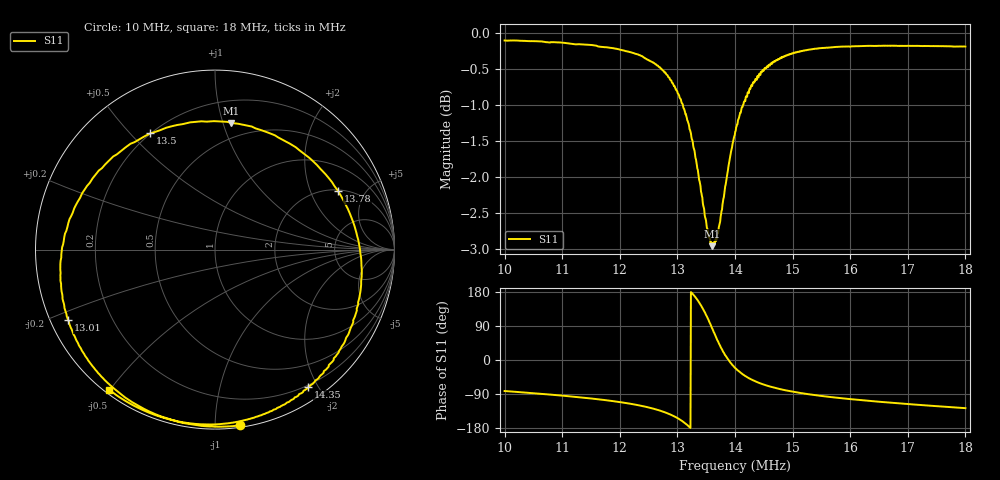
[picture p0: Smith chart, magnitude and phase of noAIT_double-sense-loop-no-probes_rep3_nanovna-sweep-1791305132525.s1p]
! NanoVNA Web complex sweep
! Processing: unaveraged complex samples; linear segment spacing; no smoothing
# Hz S RI R 50
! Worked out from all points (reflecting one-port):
!   1010 points, 10 MHz to 18 MHz, reference 50 ohm
!   lowest |S11| = -3.0 dB at 13.61 MHz (marker M1), VSWR 5.93, Z = 18.7 + j53.3 ohm
!   phase of S11 starts at -82 deg and turns -405 deg over the sweep
!   S11 on the Smith chart (normalised r, x): 10 MHz: 0.01, -1.15; 13.01 MHz: 0.05, -0.23; 13.5 MHz: 0.20, +0.57; 13.78 MHz: 2.07, +3.19; 14.35 MHz: 0.18, -1.88; 18 MHz: 0.01, -0.50
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1e7  0.1404 -0.9785
1.100698e7  -0.071 -0.9825
1.200604e7  -0.3521 -0.9082
1.235491e7  -0.4873 -0.8331
1.26245e7  -0.614 -0.7269
1.283065e7  -0.7248 -0.5904
1.300509e7  -0.8134 -0.4046
1.301302e7  -0.8177 -0.3942
1.317953e7  -0.862 -0.111
1.329846e7  -0.8106 0.1696
1.340154e7  -0.6469 0.4409
1.349669e7  -0.36 0.6478
1.355219e7  -0.139 0.7088
1.36077e7  0.0911 0.7053
1.368698e7  0.4175 0.59
1.373456e7  0.5674 0.4719
1.378213e7  0.6863 0.3257
1.382971e7  0.7642 0.1685
1.388521e7  0.8075 0.00307
1.400414e7  0.7981 -0.3046
1.416272e7  0.6792 -0.5854
1.434509e7  0.52 -0.7657
1.462261e7  0.3156 -0.8992
1.50032e7  0.1079 -0.9623
1.545515e7  -0.0681 -0.9739
1.600225e7  -0.2237 -0.9528
1.700131e7  -0.4332 -0.8791
1.800036e7  -0.5904 -0.7808
